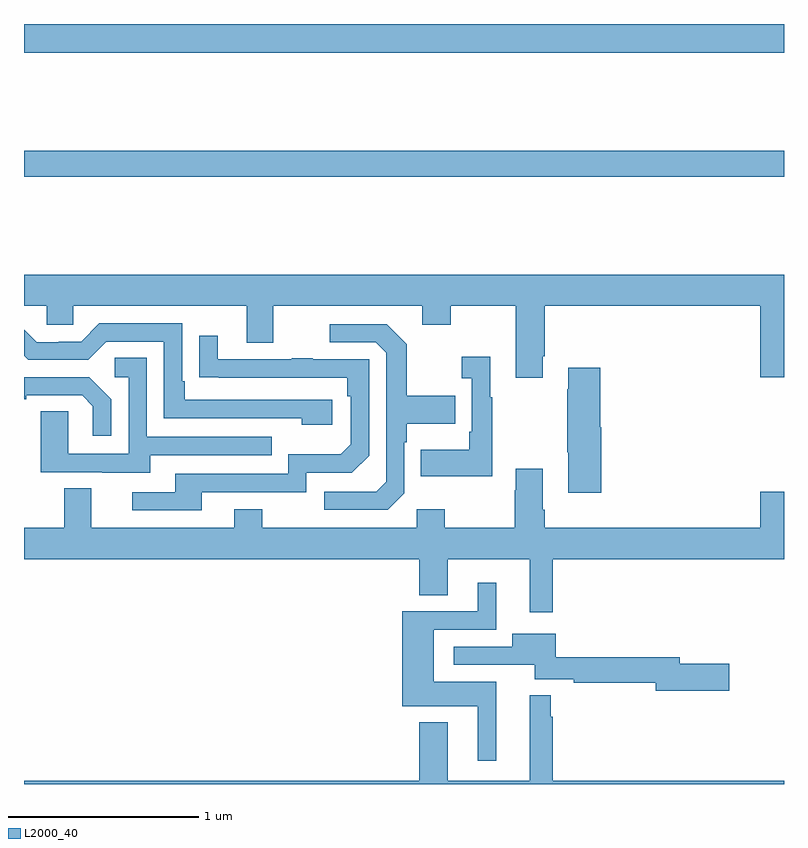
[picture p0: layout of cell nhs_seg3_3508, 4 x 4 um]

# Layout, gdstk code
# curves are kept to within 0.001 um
import gdstk
lib = gdstk.Library(unit=1e-6, precision=1e-09)
def R(c, l, rs):  # rectangles x0, y0, x1, y1
    for r in rs: c.add(gdstk.rectangle(r[:2], r[2:], *l))
def P(c, l, *ps):  # polygons
    for p in ps: c.add(gdstk.Polygon(p, *l))
L2000_40 = (2000, 40)

nhs_seg3_3508 = lib.new_cell('nhs_seg3_3508')
R(nhs_seg3_3508, L2000_40, [(293,701.596,297,701.732), (293,702.248,297,702.4)])
P(nhs_seg3_3508, L2000_40, [(295.729,700.651),(295.742,700.651),(295.742,700.916),(296.876,700.916),(296.876,700.542),(297,700.542),(297,701.08),(293,701.08),(293,700.916),(293.121,700.916),(293.121,700.818),(293.259,700.818),(293.259,700.916),(294.173,700.916),(294.173,700.722),(294.313,700.722),(294.313,700.916),(295.097,700.916),(295.097,700.817),(295.245,700.817),(295.245,700.916),(295.589,700.916),(295.589,700.539),(295.729,700.539)],
  [(294.622,700.422),(293.845,700.422),(293.845,700.519),(293.832,700.519),(293.832,700.824),(293.397,700.824),(293.301,700.728),(293.183,700.728),(293.183,700.725),(293.067,700.725),(293,700.792),(293,700.654),(293.022,700.632),(293.337,700.632),(293.433,700.728),(293.736,700.728),(293.736,700.326),(294.461,700.326),(294.461,700.292),(294.622,700.292)],
  [(295.002,699.93),(295.002,700.199),(295.015,700.199),(295.015,700.295),(295.271,700.295),(295.271,700.443),(295.015,700.443),(295.015,700.715),(294.909,700.821),(294.609,700.821),(294.609,700.725),(294.852,700.725),(294.906,700.671),(294.906,699.99),(294.855,699.939),(294.579,699.939),(294.579,699.843),(294.915,699.843)],
  [(293.935,699.936),(294.486,699.936),(294.486,700.038),(294.726,700.038),(294.816,700.128),(294.816,700.635),(294.521,700.635),(294.521,700.64),(294.409,700.64),(294.409,700.635),(294.019,700.635),(294.019,700.759),(293.923,700.759),(293.923,700.54),(294.7,700.539),(294.7,700.442),(294.72,700.442),(294.72,700.188),(294.667,700.135),(294.39,700.135),(294.39,700.032),(293.795,700.032),(293.795,699.936),(293.571,699.936),(293.571,699.84),(293.935,699.84)],
  [(295.465,700.435),(295.453,700.435),(295.453,700.648),(295.305,700.648),(295.305,700.535),(295.356,700.535),(295.356,700.255),(295.344,700.255),(295.344,700.159),(295.087,700.159),(295.087,700.019),(295.465,700.019)],
  [(293.665,700.131),(294.305,700.131),(294.305,700.227),(293.646,700.227),(293.646,700.643),(293.478,700.643),(293.478,700.542),(293.55,700.542),(293.55,700.137),(293.232,700.137),(293.232,700.361),(293.087,700.361),(293.087,700.041),(293.411,700.041),(293.411,700.037),(293.665,700.037)],
  [(296.038,700.278),(296.033,700.278),(296.033,700.591),(295.865,700.591),(295.865,700.478),(295.858,700.478),(295.858,700.147),(295.865,700.147),(295.865,699.932),(296.038,699.932)],
  [(293.46,700.426),(293.344,700.542),(293,700.542),(293,700.424),(293.011,700.424),(293.011,700.446),(293.306,700.446),(293.363,700.389),(293.363,700.233),(293.46,700.233)],
  [(295.215,699.847),(295.068,699.847),(295.068,699.748),(294.255,699.748),(294.255,699.847),(294.107,699.847),(294.107,699.748),(293.353,699.748),(293.353,699.956),(293.213,699.956),(293.213,699.748),(293,699.748),(293,699.584),(295.079,699.584),(295.079,699.394),(295.231,699.394),(295.231,699.584),(295.661,699.584),(295.661,699.303),(295.783,699.303),(295.783,699.584),(297,699.584),(297,699.937),(296.876,699.937),(296.876,699.748),(295.742,699.748),(295.742,699.844),(295.729,699.844),(295.729,700.06),(295.589,700.06),(295.589,699.947),(295.582,699.947),(295.582,699.748),(295.215,699.748)],
  [(295.486,698.938),(295.156,698.938),(295.156,699.213),(295.486,699.213),(295.486,699.46),(295.388,699.46),(295.388,699.309),(294.992,699.309),(294.992,698.81),(295.388,698.81),(295.388,698.523),(295.486,698.523)],
  [(296.713,699.032),(296.452,699.032),(296.452,699.068),(295.798,699.068),(295.798,699.19),(295.571,699.19),(295.571,699.123),(295.263,699.123),(295.263,699.027),(295.688,699.027),(295.688,698.952),(295.894,698.952),(295.894,698.932),(296.324,698.932),(296.324,698.89),(296.713,698.89)],
  [(297,698.416),(295.783,698.416),(295.783,698.753),(295.772,698.753),(295.772,698.866),(295.661,698.866),(295.661,698.416),(295.231,698.416),(295.231,698.725),(295.079,698.725),(295.079,698.416),(293,698.416),(293,698.4),(297,698.4)])

lib.write_gds('nhs_seg3_3508.gds')
